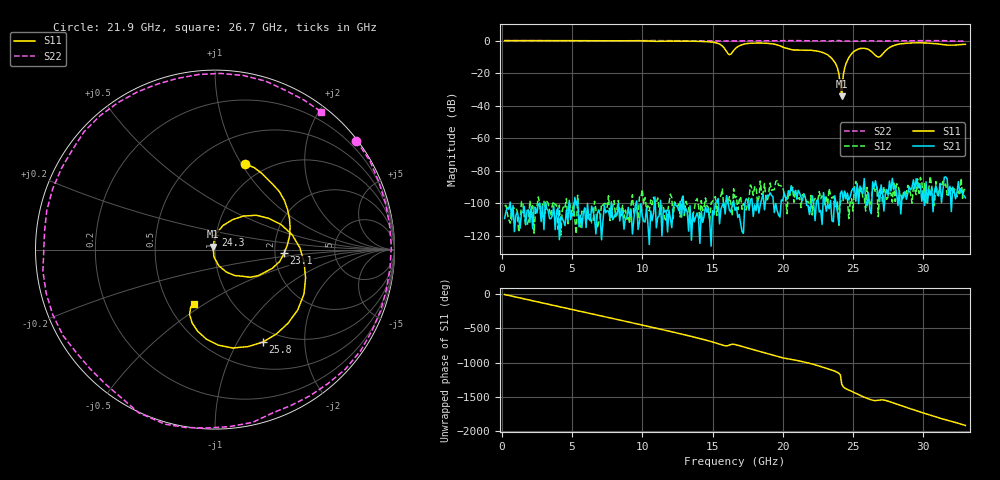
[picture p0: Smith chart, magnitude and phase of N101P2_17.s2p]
# GHZ S RI R 50
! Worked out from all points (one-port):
!   329 points, 200 MHz to 33 GHz, reference 50 ohm
!   lowest |S11| = -34.3 dB at 24.2 GHz (marker M1), VSWR 1.04, Z = 48.9 + j1.56 ohm
!   |S11| at or under -10 dB: 23.36 GHz to 24.74 GHz (1.375 GHz wide, 5.72 % of centre); 26.77 GHz to 26.9 GHz (136.4 MHz wide, 0.508 % of centre)
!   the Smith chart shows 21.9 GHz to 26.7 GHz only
!   S11 on the Smith chart (normalised r, x): 21.9 GHz: 0.81, +1.04; 23.1 GHz: 2.25, -0.11; 24.3 GHz: 0.99, +0.16; 25.8 GHz: 0.83, -1.28; 26.7 GHz: 0.67, -0.45
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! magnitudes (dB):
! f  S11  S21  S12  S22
! 200 MHz  0.0  -109.3  -101.7  0.0
! 5.7 GHz  -0.1  -115.0  -104.8  -0.1
! 11.2 GHz  -0.4  -107.8  -103.4  0.0
! 15.1 GHz  -1.1  -107.1  -97.6  -0.2
! 15.6 GHz  -2.6  -103.6  -95.2  -0.2
! 16.2 GHz  -8.7  -104.3  -96.0  -0.2
! 16.6 GHz  -5.1  -104.4  -96.6  -0.3
! 18.4 GHz  -1.5  -101.1  -86.4  -0.2
! 21.9 GHz  -5.9  -106.9  -106.2  0.0
! 22.1 GHz  -6.0  -95.5  -107.2  -0.1
! 23.1 GHz  -8.3  -105.0  -95.2  -0.2
! 23.9 GHz  -17.0  -105.8  -99.2  0.1
! 24 GHz  -20.6  -113.0  -113.6  0.0
! 24.2 GHz  -34.3  -92.4  -98.1  -0.3
! 24.3 GHz  -21.8  -97.7  -98.9  -0.3
! 24.5 GHz  -14.2  -97.3  -95.1  -0.2
! 24.8 GHz  -9.2  -96.1  -99.0  -0.3
! 25.8 GHz  -4.7  -84.9  -96.2  -0.2
! 26.7 GHz  -9.8  -91.0  -89.9  -0.3
! 27.6 GHz  -4.3  -86.3  -93.8  -0.2
! 29.2 GHz  -1.4  -90.4  -100.0  -0.1
! 33 GHz  -2.3  -96.7  -91.6  -0.3
